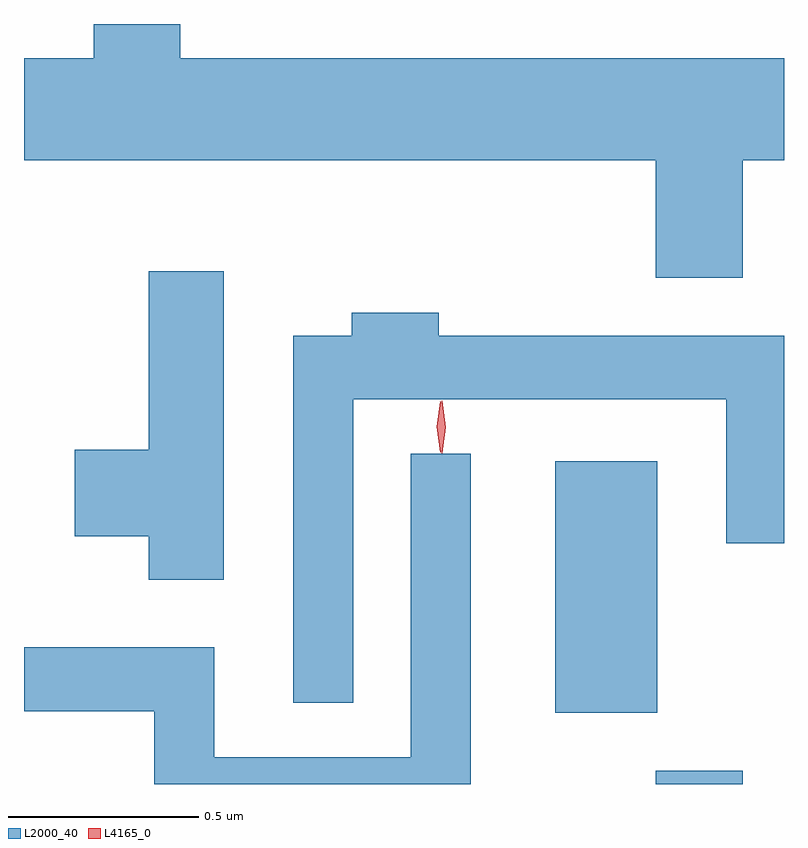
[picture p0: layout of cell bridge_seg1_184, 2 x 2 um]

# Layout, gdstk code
import gdstk
lib = gdstk.Library(unit=1e-6, precision=1e-09)
def R(c, l, rs):  # rectangles x0, y0, x1, y1
    for r in rs: c.add(gdstk.rectangle(r[:2], r[2:], *l))
def P(c, l, *ps):  # polygons
    for p in ps: c.add(gdstk.Polygon(p, *l))
L2000_40 = (2000, 40)
L4165_0 = (4165, 0)

bridge_seg1_184 = lib.new_cell('bridge_seg1_184')
R(bridge_seg1_184, L2000_40, [(806.781,968.974,807.009,969.009), (806.516,969.161,806.784,969.824)])
P(bridge_seg1_184, L2000_40, [(807.009,970.616),(807.118,970.616),(807.118,970.884),(805.529,970.884),(805.529,970.974),(805.301,970.974),(805.301,970.884),(805.118,970.884),(805.118,970.616),(806.781,970.616),(806.781,970.306),(807.009,970.306)],
  [(805.644,970.324),(805.446,970.324),(805.446,969.854),(805.251,969.854),(805.251,969.626),(805.446,969.626),(805.446,969.511),(805.644,969.511)],
  [(805.984,969.986),(806.966,969.986),(806.966,969.608),(807.118,969.608),(807.118,970.154),(806.209,970.154),(806.209,970.214),(805.981,970.214),(805.981,970.154),(805.826,970.154),(805.826,969.188),(805.984,969.188)],
  [(806.294,969.843),(806.136,969.843),(806.136,969.044),(805.619,969.044),(805.619,969.334),(805.118,969.334),(805.118,969.166),(805.461,969.166),(805.461,968.974),(806.294,968.974)])
P(bridge_seg1_184, L4165_0, [(806.217,969.844),(806.208,969.913),(806.217,969.982),(806.218,969.983),(806.218,969.982),(806.228,969.913),(806.218,969.844),(806.218,969.844)],
  [(806.214,969.847),(806.214,969.847),(806.204,969.914),(806.214,969.98),(806.214,969.981),(806.215,969.98),(806.224,969.914),(806.215,969.847)])

lib.write_gds('bridge_seg1_184.gds')
